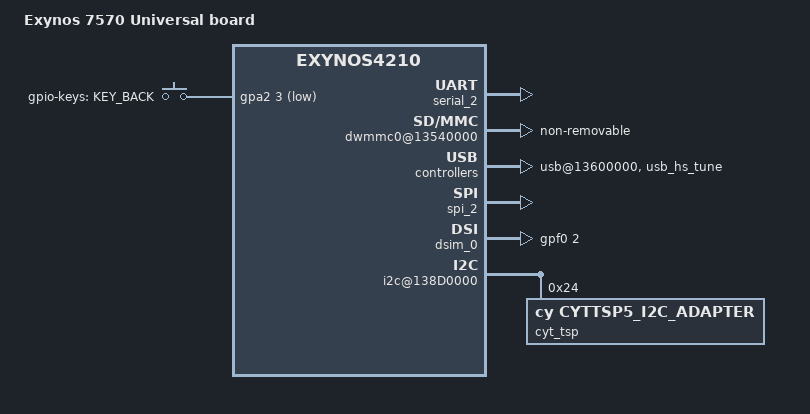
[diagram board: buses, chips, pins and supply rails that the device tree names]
/*
 * SAMSUNG UNIVERSAL7270 board device tree source
 *
 * Copyright (c) 2013 Samsung Electronics Co., Ltd.
 *		http://www.samsung.com
 *
 * This program is free software; you can redistribute it and/or modify
 * it under the terms of the GNU General Public License version 2 as
 * published by the Free Software Foundation.
*/

/dts-v1/;
#include "exynos7270-rmem.dtsi"
#include "exynos7270.dtsi"
#include "modem-ss305ap-pdata.dtsi"
#include "exynos7270-universal7270-sound.dtsi"
#include <dt-bindings/input/input.h>

/ {
	model = "Exynos 7570 Universal board";
	compatible = "samsung,exynos7570", "samsung,exynos4210";

	memory@40000000 {
		device_type = "memory";
		reg = <0x0 0x40000000 0x30000000>;
	};

	chosen {
		bootargs = "console=ttySAC2,115200 clk_ignore_unused androidboot.hardware=samsungexynos7570 androidboot.selinux=disabled firmware_class.path=/vendor/firmware ess_setup=0x46000000 androidboot.debug_level=0x4948";
		linux,initrd-start = <0x42000000>;
		linux,initrd-end = <0x421FFFFF>;
	};

	fixed-rate-clocks {
		oscclk {
			compatible = "samsung,exynos7570-oscclk";
			clock-frequency = <26000000>;
		};
	};

	serial_2: uart@13820000 {
		status = "okay";
	};

	dwmmc0@13540000 {
		status = "okay";
		num-slots = <1>;
		broken-card-detect;
		use-smu;
		fixed_voltage;
		supports-highspeed;
		clock-gate;
		mmc-ddr-1_8v;
		mmc-hs200-1_8v;
		mmc-hs400-1_8v;
		supports-8bit;
		supports-cmd23;
		supports-erase;
		enable-ulp-mode;
		only_once_tune;
		ignore-phase = <(1 << 7)>;
		use-fine-tuning;
		bypass-for-allpass;
		card-init-hwacg-ctrl;
		fifo-depth = <0x40>;
		non-removable;
		card-detect-delay = <200>;
		clock-frequency = <700000000>;
		samsung,dw-mshc-ciu-div = <3>;
		samsung,dw-mshc-txdt-crc-timer-fastlimit = <0x34>;
		samsung,dw-mshc-txdt-crc-timer-initval = <0x38>;
		samsung,dw-mshc-ddr200-delay-line = <0x60>;
		samsung,dw-mshc-sdr-timing = <3 0 2 0>;
		samsung,dw-mshc-ddr-timing = <3 0 4 2>;
		samsung,dw-mshc-hs200-timing = <3 0 3 0>;
		samsung,dw-mshc-ddr200-timing = <1 0 4 0>;
		samsung,dw-mshc-ddr200-ulp-timing = <3 0 3 0>;

		num-ref-clks = <12>;
		ciu_clkin = <25 43 43 25 43 87 175 43 43 175 175 175>;

		/* Swapping clock drive strength */
		clk-drive-number = <4>;
		pinctrl-names = "default",
			"fast-slew-rate-1x",
			"fast-slew-rate-2x",
			"fast-slew-rate-3x",
			"fast-slew-rate-4x";
		pinctrl-0 = <&sd0_clk &sd0_cmd &sd0_rdqs &sd0_bus1 &sd0_bus4 &sd0_bus8>;
		pinctrl-1 = <&sd0_clk_fast_slew_rate_1x>;
		pinctrl-2 = <&sd0_clk_fast_slew_rate_2x>;
		pinctrl-3 = <&sd0_clk_fast_slew_rate_3x>;
		pinctrl-4 = <&sd0_clk_fast_slew_rate_4x>;
		slot@0 {
			reg = <0>;
			bus-width = <8>;
		};
	};

	/* modem_interface */
	mif_pdata {
		reg = <0 0x10000 0x0>;

		pinctrl-names = "default";
		pinctrl-0 = <&cp_gpio_w>;

		mif,ap_clk_table = <
			/* khz */
			962000
			>;

		mif,mif_clk_table = <
			/* khz */
			830000
			700000
			666000
			415000
			>;
		mif,int_clk_table = <
			/* khz */
			467000
			415000
			>;
	};

	usb@13600000 {
		status = "okay";

		dwc3 {
			dr_mode = "otg";
		};
	};

	usbphy@135c0000 {
		status = "okay";
		hs_tune_info = <&usb_hs_tune>;
		ss_tune_info = <&usb_ss_tune>;
	};

	usb_hs_tune:hs_tune {
		status = "okay";
		/* value = <device host> */
		tx_vref = <0x3 0x3>;
		tx_pre_emp = <0x0 0x0>;
		tx_pre_emp_puls = <0x0 0x0>;
		tx_res	= <0x2 0x2>;
		tx_rise = <0x1 0x1>;
		tx_hsxv = <0x0 0x0>;
		tx_fsls = <0x3 0x3>;
		rx_sqrx = <0x5 0x5>;
		compdis	= <0x3 0x3>;
		otg= <0x2 0x2>;
		/* true : 1, false: 0 */
		/* <enable_user_imp user_imp_value> */
		enable_user_imp = <0 0>;
		/* PHY clk : 1 , FREE clk : 0 */
		is_phyclock = <1>;
	};

	usb_ss_tune:ss_tune {
		status = "disabled";
		/* value = <device host> */
		tx_boost_level = <0x4 0x4>;
		tx_swing_level = <0x1 0x1>;
		tx_swing_full = <0x7F 0x7F>;
		tx_swing_low = <0x7F 0x7F>;
		tx_deemphasis_mode = <0x1 0x1>;
		tx_deemphasis_3p5db = <0x18 0x18>;
		tx_deemphasis_6db = <0x18 0x18>;
		enable_ssc = <0x1 0x1>;
		ssc_range = <0x0 0x1>;
		los_bias = <0x5 0x5>;
		los_mask_val = <0x104 0x104>;
		enable_fixed_rxeq_mode = <0x0 0x0>;
		fix_rxeq_value = <0x4 0x4>;
		set_crport_mpll_charge_pump = <0x0 0x0>;
		set_crport_level_en = <0x0 0x0>;
	};

	usb_notifier {
		compatible = "samsung,usb-notifier";
		udc = <&udc>;
	};

	tmuctrl_0: tmuctrl_CPUCL0@10130000 {
		compatible = "samsung,exynos7570-tmu";
		reg = <0x0 0x10130000 0x200>;
		interrupts = <0 435 0>;
		default_ptat_cont = <0x1>;
	};

	tmuctrl_1: tmuctrl_G3D@10130000 {
		compatible = "samsung,exynos7570-tmu";
		reg = <0x0 0x10130000 0x200>;
		interrupts = <0 435 0>;
		default_ptat_cont = <0x1>;

		/* gpu cooling related table */
		gpu_idx_num = <5>;
		/* flags, driver_data(index), frequency */
		gpu_cooling_table = < 0 0 830000
				      0 1 666000
				      0 2 553000
				      0 3 415000
				      0 4 TABLE_END>;
	};

	usi_0: usi@101D2000 {
		usi_mode = "spi";
		status = "okay";
	};

	spi_2: spi@13910000 {
		status = "okay";
	};

	ion {
		compatible = "samsung,exynos5430-ion";
	};

	decon_fb@14830000 {
		/* HW TE */
		gpios = <&gpe0 2 0xf>;
		/* 0: video mode, 1: DP command mode, 2: MIPI command mode */
		psr_mode = <2>;
		/* vclk_mif = 100MHz */
		mif-vclk = <100000000>;
		/* vclk = 12.5 MHz */
		disp-vclk = <12500000>;
		/* aclk = 208MHz */
		disp-dvfs = <208000000>;
		status = "okay";
	};

	dsim_0: dsim@14800000 {
		lcd_info = <&s6e36w1x01>;
		/*lcd reset */
		gpios = <&gpf0 2 0x1>;
		status = "okay";
	};

	s6e36w1x01: s6e36w1x01_custom {
		/* 0: video mode, 1: DP command mode, 2: MIPI command mode */
		mode = <2>;
		/* custom (360 x 360) */
		panel_name = "s6e36w1x01";
		resolution = <360 360>;
		/* DISP I/F resolution width : 300, height : 432 */
		dispif_resol = <300 432>;
		size = <71 114>;
		timing,refresh = <60>;
		/* dsim H porch : hbp, hfp, hsa */
		timing,dsim_h-porch = <1 1 1>;
		/* dsim V porch : VBP, VFP, VSA */
		timing,dsim_v-porch = <5 10 1>;
		/* decon H porch : hbp, hfp, hsa */
		timing,decon_h-porch = <3 1 1>;
		/* decon V porch : VBP, VFP, VSA */
		timing,decon_v-porch = <5 10 1>;
		/* panel max speed : 384Mbps */
		timing,dsi-hs-clk = <384>;
		timing,pms = <2 118 2>;
		timing,dsi-escape-clk = <8>;
	};

	pinctrl@139F0000 {
		if_irq: if-irq {
			samsung,pins = "gpa0-5";
			samsung,pin-pud = <3>;
			samsung,pin-drv = <3>;
		};
	};

	speedy@10510000 {
		status = "okay";
		s2mpw01mfd@00 {
			compatible = "samsung,s2mpw01mfd";
			reg = <0x00>;
			pinctrl-names = "default";
			pinctrl-0 = <&if_irq>;
			s2mpw01,irq-gpio = <&gpa0 5 0>;
			s2mpw01,wakeup = "enabled";

			i2c-speedy-address;
			cache_data = <1>;

			/* RTC: wtsr/smpl */
			wtsr_en = "enabled"; /* enable */
			wtsr_timer_val = <3>;   /* 1000ms */
			check_jigon = <0>; /* do not check jigon */
			/* RTC: reset time to 1/1/2014 00:00:00(Wed) */
			init_time,sec = <0>;
			init_time,min = <0>;
			init_time,hour = <0>;
			init_time,mday = <1>;
			init_time,mon = <0>;    /* +1 */
			init_time,year = <116>; /* 1900 + 114 */
			init_time,wday = <5>;

			s2mpw01-keys {
				button@1 {
					label = "pmic-keys: KEY_POWER";
					linux,code = <116>;
					wakeup = <1>;
				};
			};

			regulators {
				buck1_reg: BUCK1 {
					regulator-name = "BUCK1";
					regulator-min-microvolt = <600000>;
					regulator-max-microvolt = <1300000>;
					regulator-always-on;
					regulator-boot-on;
					regulator-ramp-delay = <12000>;
					regulator-initial-mode = <1>;
					regulator-expected-consumer = <6>;
				};

				buck3_reg: BUCK3 {
					regulator-name = "BUCK3";
					regulator-min-microvolt = <800000>;
					regulator-max-microvolt = <1500000>;
					regulator-always-on;
					regulator-boot-on;
					regulator-ramp-delay = <12000>;
					regulator-initial-mode = <3>;
				};

				buck4_reg: BUCK4 {
					regulator-name = "BUCK4";
					regulator-min-microvolt = <1800000>;
					regulator-max-microvolt = <2100000>;
					regulator-always-on;
					regulator-boot-on;
					regulator-initial-mode = <3>;
					regulator-ramp-delay = <12000>;
				};

				ldo1_reg: LDO1 {
					regulator-name = "vdd_ldo1";
					regulator-min-microvolt = <500000>;
					regulator-max-microvolt = <1350000>;
					regulator-ramp-delay = <12000>;
					regulator-initial-mode = <3>;
					regulator-always-on;
					regulator-boot-on;
				};

				ldo2_reg: LDO2 {
					regulator-name = "vdd_ldo2";
					regulator-min-microvolt = <500000>;
					regulator-max-microvolt = <1350000>;
					regulator-always-on;
					regulator-boot-on;
					regulator-ramp-delay = <12000>;
					regulator-initial-mode = <1>;
				};

				ldo3_reg: LDO3 {
					regulator-name = "vdd_ldo3";
					regulator-min-microvolt = <1500000>;
					regulator-max-microvolt = <2000000>;
					regulator-always-on;
					regulator-boot-on;
					regulator-initial-mode = <3>;
					regulator-ramp-delay = <12000>;
				};

				ldo4_reg: LDO4 {
					regulator-name = "vdd_ldo4";
					regulator-min-microvolt = <800000>;
					regulator-max-microvolt = <1200000>;
					regulator-always-on;
					regulator-boot-on;
					regulator-initial-mode = <1>;
					regulator-ramp-delay = <12000>;
				};

				ldo5_reg: LDO5 {
					regulator-name = "vdd_ldo5";
					regulator-min-microvolt = <800000>;
					regulator-max-microvolt = <1200000>;
					regulator-always-on;
					regulator-boot-on;
					regulator-initial-mode = <1>;
					regulator-ramp-delay = <12000>;
				};

				ldo6_reg: LDO6 {
					regulator-name = "vdd_ldo6";
					regulator-min-microvolt = <1800000>;
					regulator-max-microvolt = <3375000>;
					regulator-initial-mode = <1>;
					regulator-ramp-delay = <12000>;
					regulator-always-on;
				};

				ldo7_reg: LDO7 {
					regulator-name = "vdd_ldo7";
					regulator-min-microvolt = <800000>;
					regulator-max-microvolt = <1200000>;
					regulator-always-on;
					regulator-boot-on;
					regulator-initial-mode = <3>;
					regulator-ramp-delay = <12000>;
				};

				ldo8_reg: LDO8 {
					regulator-name = "vqemmc";
					regulator-min-microvolt = <1500000>;
					regulator-max-microvolt = <2000000>;
					regulator-initial-mode = <0>;
					regulator-ramp-delay = <12000>;
				};

				ldo9_reg: LDO9 {
					regulator-name = "vemmc";
					regulator-min-microvolt = <1800000>;
					regulator-max-microvolt = <3375000>;
					regulator-initial-mode = <0>;
					regulator-ramp-delay = <12000>;
				};

				ldo10_reg: LDO10 {
					regulator-name = "vdd_ldo10";
					regulator-min-microvolt = <1500000>;
					regulator-max-microvolt = <2000000>;
					regulator-always-on;
					regulator-boot-on;
					regulator-ramp-delay = <12000>;
					regulator-initial-mode = <1>;
				};

				ldo11_reg: LDO11 {
					regulator-name = "vdd_ldo11";
					regulator-min-microvolt = <1800000>;
					regulator-max-microvolt = <2850000>;
					regulator-always-on;
					regulator-boot-on;
					regulator-ramp-delay = <12000>;
				};

				ldo12_reg: LDO12 {
					regulator-name = "vdd_ldo12";
					regulator-min-microvolt = <1800000>;
					regulator-max-microvolt = <3375000>;
					regulator-ramp-delay = <12000>;
				};

				ldo13_reg: LDO13 {
					regulator-name = "vdd_ldo13";
					regulator-min-microvolt = <1500000>;
					regulator-max-microvolt = <2000000>;
					regulator-ramp-delay = <12000>;
				};

				ldo14_reg: LDO14 {
					regulator-name = "vdd_ldo14";
					regulator-min-microvolt = <1800000>;
					regulator-max-microvolt = <3375000>;
					regulator-ramp-delay = <12000>;
				};

				ldo15_reg: LDO15 {
					regulator-name = "vdd_ldo15";
					regulator-min-microvolt = <1500000>;
					regulator-max-microvolt = <2000000>;
					regulator-always-on;
					regulator-boot-on;
					regulator-initial-mode = <1>;
					regulator-ramp-delay = <12000>;
				};

				ldo16_reg: LDO16 {
					regulator-name = "vdd_ldo16";
					regulator-min-microvolt = <1800000>;
					regulator-max-microvolt = <3375000>;
					regulator-always-on;
					regulator-boot-on;
					regulator-initial-mode = <1>;
					regulator-ramp-delay = <12000>;
				};

				ldo17_reg: LDO17 {
					regulator-name = "vdd_ldo17";
					regulator-min-microvolt = <1500000>;
					regulator-max-microvolt = <2000000>;
					regulator-always-on;
					regulator-boot-on;
					regulator-initial-mode = <1>;
					regulator-ramp-delay = <12000>;
				};

				ldo18_reg: LDO18 {
					regulator-name = "vdd_ldo18";
					regulator-min-microvolt = <1800000>;
					regulator-max-microvolt = <3375000>;
					regulator-ramp-delay = <12000>;
				};

				ldo19_reg: LDO19 {
					regulator-name = "vdd_ldo19";
					regulator-min-microvolt = <1800000>;
					regulator-max-microvolt = <3375000>;
					regulator-ramp-delay = <12000>;
					regulator-initial-mode = <0>;
				};

				ldo20_reg: LDO20 {
					regulator-name = "vdd_ldo20";
					regulator-min-microvolt = <1800000>;
					regulator-max-microvolt = <3375000>;
					regulator-always-on;
					regulator-boot-on;
					regulator-ramp-delay = <12000>;
				};

				ldo21_reg: LDO21 {
					regulator-name = "vdd_ldo21";
					regulator-min-microvolt = <1500000>;
					regulator-max-microvolt = <2000000>;
					regulator-ramp-delay = <12000>;
					regulator-always-on;
					regulator-boot-on;
					regulator-initial-mode = <1>;
				};

				ldo22_reg: LDO22 {
					regulator-name = "vdd_ldo22";
					regulator-min-microvolt = <800000>;
					regulator-max-microvolt = <1200000>;
					regulator-always-on;
					regulator-boot-on;
					regulator-initial-mode = <1>;
					regulator-ramp-delay = <12000>;
				};

				ldo23_reg: LDO23 {
					regulator-name = "vdd_ldo23";
					regulator-min-microvolt = <1800000>;
					regulator-max-microvolt = <3375000>;
					regulator-always-on;
					regulator-boot-on;
					regulator-ramp-delay = <12000>;
				};
			};
		};
	};

	exynos-rgt {
		compatible = "samsung,exynos-rgt";
	};

	exynos-pm {
		compatible = "samsung,exynos-pm";
		reg = <0x0 0x139F0000 0x1000>,
		      <0x0 0x104E1200 0x100>;
		reg-names = "gpio_alive_base",
			    "gicd_ispendrn_base";
		num-eint = <24>;
		num-gic = <16>;
		suspend_mode_idx = <8>;		/* SYS_SLEEP */
		suspend_psci_idx = <131>;	/* PSCI_SYSTEM_SLEEP */
		cp_call_mode_idx = <4>;		/* SYS_LPD */
		cp_call_psci_idx = <132>;	/* PSCI_SYSTEM_CP_CALL */
	};

	exynos-powermode {
		compatible = "exynos,powermode";

		/*	        sicd		sicd_cpd	aftr		stop
		 *		lpd		lpa		alpa		dstop
		 *		sleep
		 */
		wakeup_mask =  <0x400791E1>,	<0x0>,		<0x0>,		<0x0>,
			       <0x0>,		<0x0>,		<0x0>,		<0x0>,
			       <0x4007FFFC>;
		wakeup_mask2 = <0x0>,		<0x0>,		<0x0>,		<0x0>,
			       <0x0>,		<0x0>,		<0x0>,		<0x0>,
			       <0xFFFF00FF>;
		wakeup_mask3 = <0x0>,		<0x0>,		<0x0>,		<0x0>,
			       <0x0>,		<0x0>,		<0x0>,		<0x0>,
			       <0xFFFF00FF>;

		cpd_residency = <3000>;
		sicd_residency = <3000>;

		sicd_enabled = <1>;

		idle-ip = "136c0000.pwm",		/* idle ip index : 0 */
			  "10550000.adc",		/* idle ip index : 1 */

			  "10510000.hsi2c",		/* idle ip index : 2 */
			  "13950000.hsi2c",		/* idle ip index : 3 */
			  "13960000.hsi2c",		/* idle ip index : 4 */
			  "138a0000.hsi2c",		/* idle ip index : 5 */
			  "138b0000.hsi2c",		/* idle ip index : 6 */
			  "138c0000.hsi2c",		/* idle ip index : 7 */
			  "138f0000.hsi2c",		/* idle ip index : 8 */

			  "13870000.i2c",		/* idle ip index : 9 */
			  "13880000.i2c",		/* idle ip index : 10 */
			  "13890000.i2c",		/* idle ip index : 11 */
			  "13840000.i2c",		/* idle ip index : 12 */
			  "13830000.i2c",		/* idle ip index : 13 */
			  "138d0000.i2c",		/* idle ip index : 14 */
			  "138e0000.i2c",		/* idle ip index : 15 */
			  "13850000.i2c",		/* idle ip index : 16 */
			  "13860000.i2c",		/* idle ip index : 17 */

			  "13540000.dwmmc0",		/* idle ip index : 18 */
			  "13560000.dwmmc2",		/* idle ip index : 19 */

			  "13600000.usb",		/* idle ip index : 20 */

			  "100c0000.spi",		/* idle ip index : 21 */
			  "13900000.spi",		/* idle ip index : 22 */
			  "13910000.spi",		/* idle ip index : 23 */
			  "13920000.spi",		/* idle ip index : 24 */
			  "13930000.spi",		/* idle ip index : 25 */

			  "10500000.mailbox-cp",	/* idle ip index : 26 */
			  "10570000.mailbox-gnss",	/* idle ip index : 27 */

			  "14830000.decon_fb",		/* idle ip index : 28 */
			  "pd-g3d",			/* idle ip index : 29 */
			  "pd-isp",			/* idle ip index : 30 */
			  "pd-mfcmscl",			/* idle ip index : 31 */
			  "148f0000.lpass";             /* idle ip index : 32 */
		idle_ip_mask {
			sicd: SYS_SICD {
				mode-index = <0>;
				ref-idle-ip = <0>,  <1>,  <2>,  <3>,  <4>,  <5>,  <6>,  <7>,  <8>,  <9>,
					     <10>, <11>, <12>, <13>, <14>, <15>, <16>, <17>, <18>, <19>,
					     <20>, <21>, <22>, <23>, <24>, <25>, <26>, <27>, <28>, <29>,
					     <30>, <31>, <32>;
			};
		};
	};

	battery {
		battery,charger_name = "sec-charger";
		battery,fuelgauge_name = "sec-fuelgauge";
		battery,chg_eoc_dualpath = <1>;

		battery,input_current_limit = <500 0 0 500 460 900 1000 460 1000 0 820 1900 1000 0 0 400 700 1300 300 1000 1500 0 1667 1000 80 1800>;
		battery,fast_charging_current = <500 0 0 500 460 1200 1000 460 1200 0 1000 1600 1000 0 0 400 700 1300 300 1000 1500 0 3150 1000 80 1800>;
		battery,full_check_current_1st = <100 0 0 100 100 250 250 250 250 0 250 250 250 0 0 350 350 350 350 350 350 0 350 350 0 350>;
		battery,full_check_current_2nd = <3000 0 0 3000 3000 3000 3000 3000 3000 0 3000 3000 0 0 0 3000 3000 3000 3000 3000 3000 0 3000 3000 3000 3000>;
		battery,input_current_limit_new = <1800 0 0 1500 460 900 1000 460 1000 0 820 1900 1000 0 0 400 700 1300 300 1000 1500 0 1667 1000 80 1800>;
		battery,fast_charging_current_new = <2100 0 0 1700 460 1200 1000 460 1200 0 1000 1600 1000 0 0 400 700 1300 300 1000 1500 0 3150 1000 80 1800>;
		battery,recharge_condition_vcell = <4250>;
	};

	s2mpw01-charger {
		battery,chg_float_voltage = <4390>;
	};

	s2mpw01-fuelgauge {
		fuelgauge,fuel_alert_soc = <1>;
		fuelgauge,capacity_max = <1000>;
		fuelgauge,capacity_max_margin = <70>;
		fuelgauge,capacity_min = <0>;
		fuelgauge,capacity_calculation_type = <28>;
		fuelgauge,type_str = "SDI";
		fuelgauge,model_type = <1>;
	};

	pinctrl@139F0000 {
		key_back: key-back {
			samsung,pins = "gpa2-3";
			samsung,pin-function = <0xf>;
			samsung,pin-pud = <0>;
			samsung,pin-drv = <0>;
		};
	};

	gpio_keys {
		compatible = "gpio-keys";
		pinctrl-names = "default";
		pinctrl-0 = <&key_back>;
		#address-cells = <1>;
		#size-cells = <0>;

		button@1 {
			label = "gpio-keys: KEY_BACK";
			interrupts = <3 0 0>;
			interrupt-parent = <&gpa2>;
			linux,code = <KEY_BACK>;
			gpios = <&gpa2 3 0xf>;
			gpio-key,wakeup = <1>;
		};
	};

	acpm: acpm@11C88000 {
		compatible = "samsung,exynos-acpm";
		#address-cells = <2>;
		#size-cells = <1>;
		reg = <0x0 0x11C88000 0x1000>;

		log_base = <0x02047700>;
		time_len = <32>;
		log_buff_size = <16>;
		log_buff_len = <380>;
		debug_logging_level = <0>;
		logging_period = <500>;

		dump_base = <0x02046000>;
		dump_size = <0x3800>;

		plugins {
			framework {
				attach = <2>;
				id = <0>;
				acpm-ipc-channel = <&framework_ch>;
			};
		};
	};

	acpm_ipc: acpm_ipc@11C00000 {
		compatible = "samsung,exynos-acpm-ipc";
		#address-cells = <2>;
		#size-cells = <1>;

		interrupts = <0 22 0>;
		reg = <0x0 0x11C00000 0x1000>;

		channels {
			polling = <1>;
			max_buff_size = <0x300>;
			framework_ch: framework@0x02047400 {
				channel_id = <0>;
				rx_buff = <0x02047400>;
				tx_buff = <0x02047480>;
				buff_size = <12>;
				buff_len = <8>;
				direction_buff = <412>;
			};
		};
	};

	pinctrl@139F0000 {
		attn_irq: attn-irq {
			samsung,pins = "gpa2-4";
			samsung,pin-function = <0xf>;
			samsung,pin-pud = <3>;
			samsung,pin-drv = <0>;
		};
		attn_input: attn-input {
			samsung,pins = "gpa2-4";
			samsung,pin-function = <0>;
			samsung,pin-pud = <1>;
			samsung,pin-drv = <0>;
		};
	};

	i2c@138D0000{ /* BLSP1 QUP5 */
		status = "okay";
		#address-cells = <1>;
		#size-cells = <0>;

		cyt_tsp@24 {
			compatible = "cy,cyttsp5_i2c_adapter";
			reg = <0x24>; /*slave address*/
			pinctrl-names = "default";
			pinctrl-0 = <&attn_irq>;
			pinctrl-1 = <&attn_input>;
			interrupts = <30>;
			cy,adapter_id = "cyttsp5_i2c_adapter";
			cy,core {
				cy,name = "cyttsp5_core";
				cy,irq_gpio = <30>;
				cy,hid_desc_register = <1>;
				cy,flags = <4>;
				cy,report_rate = <90>;

				cy,mt {
					cy,name = "cyttsp5_mt";
					cy,inp_dev_name = "sec_touchscreen";
					cy,abs =
						/* ABS_MT_POSITION_X, CY_ABS_MIN_X, CY_ABS_MAX_X, 0, 0 */
						<0x35 0 1080 0 0
						/* ABS_MT_POSITION_Y, CY_ABS_MIN_Y, CY_ABS_MAX_Y, 0, 0 */
						0x36 0 1920 0 0
						/* ABS_MT_PRESSURE, CY_ABS_MIN_P, CY_ABS_MAX_P, 0, 0 */
						0x3a 0 255 0 0
						/* CY_IGNORE_VALUE, CY_ABS_MIN_W, CY_ABS_MAX_W, 0, 0 */
						0xffff 0 255 0 0
						/* ABS_MT_TRACKING_ID, CY_ABS_MIN_T, CY_ABS_MAX_T, 0, 0 */
						0x39 0 15 0 0
						/* ABS_MT_TOUCH_MAJOR, 0, 255, 0, 0 */
						0x30 0 255 0 0
						/* ABS_MT_TOUCH_MINOR, 0, 255, 0, 0 */
						0x31 0 255 0 0
						/* ABS_MT_ORIENTATION, -128, 127, 0, 0 */
						0x34 0xfffffed7 127 0 0
						/* ABS_MT_TOOL_TYPE, 0, MT_TOOL_MAX, 0, 0 */
						0x37 0 1 0 0>;
				};
			};
		};
	};
};
